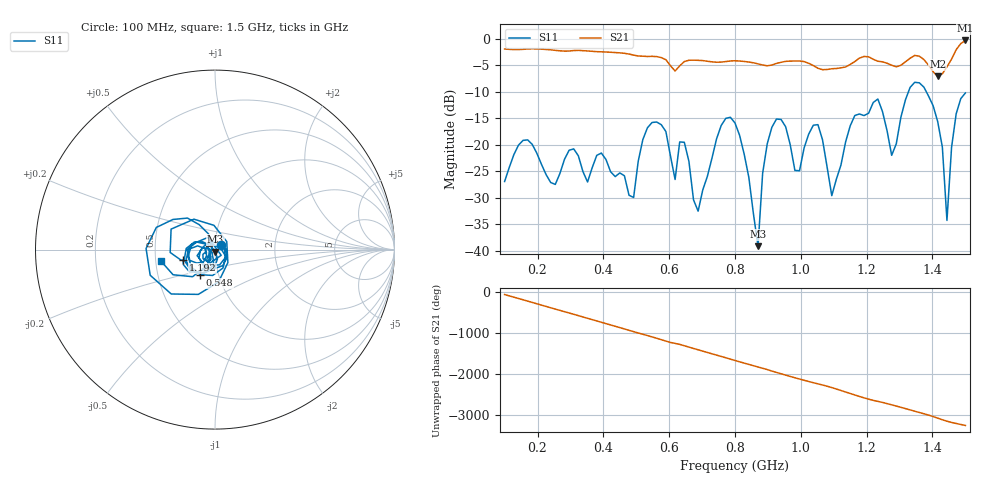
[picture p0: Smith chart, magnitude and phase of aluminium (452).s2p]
! NanoVNA-App
! Date: 2025-09-25 14:58:48
! Start: 100MHz Stop: 1,5GHz Points: 101
! S-Parameter data: F S11 S21 S12 S22
# Hz S RI R 50
!  Frequency  S11_Real  S11_Imag  S21_Real  S21_Imag  S12_Real  S12_Imag  S22_Real  S22_Imag
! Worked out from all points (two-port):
!   101 points, 100 MHz to 1.5 GHz, reference 50 ohm
!   highest |S21| = -0.31 dB at 1.5 GHz (marker M1); lowest = -7.1 dB at 1.416 GHz (marker M2)
!   |S21| within 3 dB of the highest: start of sweep to 526.6 MHz; 1.462 GHz to end of sweep (the widest 2 of 3)
!   lowest |S11| = -39.2 dB at 870 MHz (marker M3), VSWR 1.02, Z = 50.2 - j1.07 ohm
!   |S11| at or under -10 dB: start of sweep to 1.327 GHz; 1.381 GHz to end of sweep
!   S12 and S22 are empty: the file has one direction only
!   S11 on the Smith chart (normalised r, x): 100 MHz: 1.07, +0.06; 548 MHz: 0.82, -0.24; 1.192 GHz: 0.69, -0.08; 1.5 GHz: 0.53, -0.08
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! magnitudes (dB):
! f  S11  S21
! 100 MHz  -27.0  -1.9
! 156 MHz  -19.2  -2.0
! 338 MHz  -25.1  -2.2
! 492 MHz  -30.0  -3.1
! 548 MHz  -15.8  -3.3
! 576 MHz  -16.2  -3.5
! 618 MHz  -26.6  -6.1
! 646 MHz  -19.6  -4.3
! 688 MHz  -32.6  -4.1
! 800 MHz  -15.9  -4.1
! 870 MHz  -39.2  -4.7
! 912 MHz  -16.7  -4.9
! 996 MHz  -24.9  -4.2
! 1.038 GHz  -16.3  -5.1
! 1.094 GHz  -29.6  -5.7
! 1.192 GHz  -14.5  -3.3
! 1.276 GHz  -22.0  -5.0
! 1.346 GHz  -8.2  -3.1
! 1.416 GHz  -15.7  -7.1
! 1.444 GHz  -34.3  -5.3
! 1.472 GHz  -14.2  -2.1
! 1.5 GHz  -10.2  -0.3
